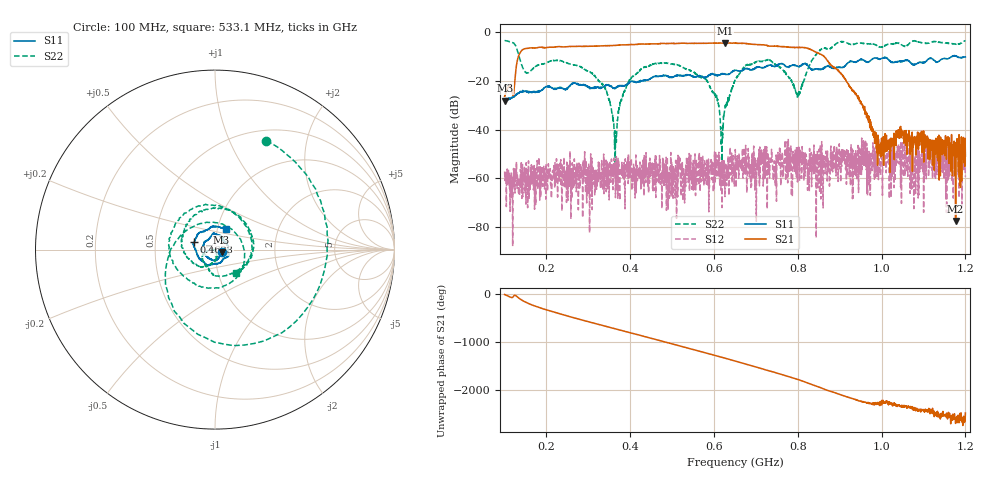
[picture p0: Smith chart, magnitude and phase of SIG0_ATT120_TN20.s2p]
# Hz S DB R 50
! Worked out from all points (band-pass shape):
!   1601 points, 100 MHz to 1.2 GHz, reference 50 ohm
!   highest |S21| = -4.43 dB at 625.9 MHz (marker M1); lowest = -77.5 dB at 1.177 GHz (marker M2)
!   |S21| within 3 dB of the highest: 142 MHz to 833.7 MHz (691.7 MHz wide, 142 % of centre)
!   lowest |S11| = -28.1 dB at 100.7 MHz (marker M3), VSWR 1.08, Z = 53.8 - j1.61 ohm
!   |S11| at or under -10 dB: start of sweep to 1.169 GHz; 1.178621 GHz to 1.178885 GHz (264.3 kHz wide, 0.0224 % of centre); 1.18 GHz to end of sweep
!   |S22| runs from -53.4 to -3.4 dB; largest |S21 - S12| = 0.6
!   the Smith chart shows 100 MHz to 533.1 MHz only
!   S11 on the Smith chart (normalised r, x): 100 MHz: 1.08, -0.03; 462.3 MHz: 0.79, +0.07; 533.1 MHz: 1.10, +0.25
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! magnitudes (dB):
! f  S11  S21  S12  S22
! 100 MHz  -27.5  -26.3  -57.2  -3.5
! 100.7 MHz  -28.1  -26.4  -60.9  -3.5
! 144.7 MHz  -24.2  -7.1  -58.4  -15.2
! 283.6 MHz  -21.8  -5.9  -55.7  -14.3
! 337.9 MHz  -22.2  -5.6  -51.8  -22.4
! 364 MHz  -22.8  -5.4  -53.6  -53.4
! 399.1 MHz  -20.5  -5.2  -58.5  -19.4
! 462.3 MHz  -18.1  -4.9  -56.7  -13.1
! 467.1 MHz  -18.3  -4.7  -57.3  -12.9
! 533.1 MHz  -17.8  -4.6  -54.5  -15.1
! 583.3 MHz  -18.3  -4.6  -55.4  -20.2
! 618.4 MHz  -17.3  -4.5  -52.9  -47.8
! 625.9 MHz  -17.2  -4.4  -67.4  -31.6
! 650 MHz  -15.7  -4.6  -59.4  -19.9
! 731.1 MHz  -13.6  -5.7  -53.6  -11.3
! 799.9 MHz  -14.1  -6.3  -51.2  -25.3
! 833.6 MHz  -15.5  -7.4  -51.3  -11.6
! 993.1 MHz  -10.9  -45.7  -48.0  -5.9
! 1.017 GHz  -11.4  -44.3  -48.3  -5.0
! 1.045 GHz  -11.9  -42.9  -49.5  -4.9
! 1.177 GHz  -9.7  -77.5  -56.3  -4.9
! 1.2 GHz  -10.2  -50.8  -59.3  -3.4
